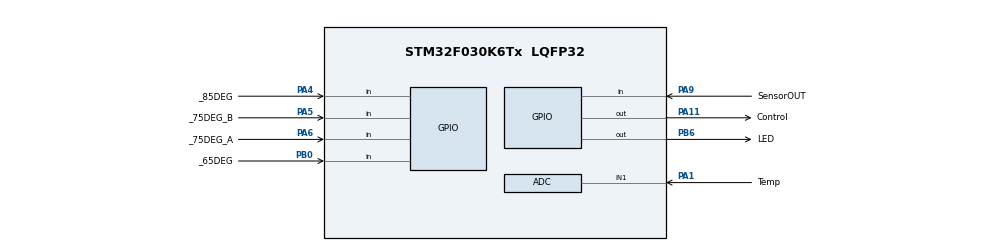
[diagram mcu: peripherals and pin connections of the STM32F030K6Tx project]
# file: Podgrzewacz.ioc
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Mcu.Family=STM32F0
Mcu.Name=STM32F030K6Tx
Mcu.Package=LQFP32
PA1.GPIO_Label=Temp
PA1.Mode=IN1
PA1.Signal=ADC_IN1
PA11.GPIO_Label=Control
PA11.Signal=GPIO_Output
PA13.Mode=Serial_Wire
PA13.Signal=SYS_SWDIO
PA14.Mode=Serial_Wire
PA14.Signal=SYS_SWCLK
PA4.GPIO_Label=_85DEG
PA4.Signal=GPIO_Input
PA5.GPIO_Label=_75DEG_B
PA5.Signal=GPIO_Input
PA6.GPIO_Label=_75DEG_A
PA6.Signal=GPIO_Input
PA9.GPIO_Label=SensorOUT
PA9.Signal=GPIO_Input
PB0.GPIO_Label=_65DEG
PB0.Signal=GPIO_Input
PB6.GPIO_Label=LED
PB6.Signal=GPIO_Output
ProjectManager.HeapSize=0x200
ProjectManager.StackSize=0x400
ProjectManager.TargetToolchain=STM32CubeIDE
board=custom

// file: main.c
/* USER CODE BEGIN Header */
/**
  ******************************************************************************
  * @file           : main.c
  * @brief          : Main program body
  ******************************************************************************
  * @attention
  *
  * Copyright (c) 2024 STMicroelectronics.
  * All rights reserved.
  *
  * This software is licensed under terms that can be found in the LICENSE file
  * in the root directory of this software component.
  * If no LICENSE file comes with this software, it is provided AS-IS.
  *
  ******************************************************************************
  */
/* USER CODE END Header */
#include "main.h"

ADC_HandleTypeDef hadc;

void SystemClock_Config(void);
static void MX_GPIO_Init(void);
static void MX_ADC_Init(void);

int main(void)
{

  /* MCU Configuration--------------------------------------------------------*/

  /* Reset of all peripherals, Initializes the Flash interface and the Systick. */
  HAL_Init();

  /* Configure the system clock */
  SystemClock_Config();

  /* Initialize all configured peripherals */
  MX_GPIO_Init();
  MX_ADC_Init();
  /* USER CODE BEGIN 2 */
  HAL_GPIO_WritePin(GPIOA, GPIO_PIN_11, GPIO_PIN_RESET);
  HAL_GPIO_WritePin(GPIOB, GPIO_PIN_6, GPIO_PIN_RESET);
  /* USER CODE END 2 */

  /* Infinite loop */
  /* USER CODE BEGIN WHILE */
  while (1)
  {
	  uint16_t InputState = 0;
	  InputState |= HAL_GPIO_ReadPin(GPIOB, GPIO_PIN_0) << 2;
	  InputState |= HAL_GPIO_ReadPin(GPIOA, GPIO_PIN_6) << 1;
	  InputState |= HAL_GPIO_ReadPin(GPIOA, GPIO_PIN_5) << 0;

	  if (HAL_GPIO_ReadPin(GPIOA, GPIO_PIN_9) == GPIO_PIN_SET)
	  {
		  switch (InputState)
		  {
			  case 0: //000
				  HAL_GPIO_WritePin(GPIOA, GPIO_PIN_11, GPIO_PIN_RESET);
				  HAL_GPIO_WritePin(GPIOB, GPIO_PIN_6, GPIO_PIN_SET);
				  break;
			  case 1: //001
				  HAL_GPIO_WritePin(GPIOA, GPIO_PIN_11, GPIO_PIN_RESET);
				  HAL_GPIO_WritePin(GPIOB, GPIO_PIN_6, GPIO_PIN_SET);
				  break;
			  case 2: //010
				  HAL_GPIO_WritePin(GPIOA, GPIO_PIN_11, GPIO_PIN_RESET);
				  HAL_GPIO_WritePin(GPIOB, GPIO_PIN_6, GPIO_PIN_SET);
				  break;
			  case 3: //011
				  HAL_GPIO_WritePin(GPIOA, GPIO_PIN_11, GPIO_PIN_SET);
				  HAL_GPIO_WritePin(GPIOB, GPIO_PIN_6, GPIO_PIN_SET);
				  break;
			  case 7: //111
				  HAL_GPIO_WritePin(GPIOA, GPIO_PIN_11, GPIO_PIN_SET);
				  HAL_GPIO_TogglePin(GPIOB, GPIO_PIN_6);
				  HAL_Delay(500);
				  break;
			  default:
				  HAL_GPIO_WritePin(GPIOA, GPIO_PIN_11, GPIO_PIN_RESET);
				  HAL_GPIO_TogglePin(GPIOB, GPIO_PIN_6);
				  HAL_Delay(250);
				  break;
		  }
	  }
	  else
	  {
		  HAL_GPIO_WritePin(GPIOA, GPIO_PIN_11, GPIO_PIN_RESET);
		  HAL_GPIO_WritePin(GPIOB, GPIO_PIN_6, GPIO_PIN_RESET);
	  }

    /* USER CODE END WHILE */

  }
}

void SystemClock_Config(void)
{
  RCC_OscInitTypeDef RCC_OscInitStruct = {0};
  RCC_ClkInitTypeDef RCC_ClkInitStruct = {0};

  /** Initializes the RCC Oscillators according to the specified parameters
  * in the RCC_OscInitTypeDef structure.
  */
  RCC_OscInitStruct.OscillatorType = RCC_OSCILLATORTYPE_HSI|RCC_OSCILLATORTYPE_HSI14;
  RCC_OscInitStruct.HSIState = RCC_HSI_ON;
  RCC_OscInitStruct.HSI14State = RCC_HSI14_ON;
  RCC_OscInitStruct.HSICalibrationValue = RCC_HSICALIBRATION_DEFAULT;
  RCC_OscInitStruct.HSI14CalibrationValue = 16;
  RCC_OscInitStruct.PLL.PLLState = RCC_PLL_NONE;
  if (HAL_RCC_OscConfig(&RCC_OscInitStruct) != HAL_OK)
  {
    Error_Handler();
  }

  /** Initializes the CPU, AHB and APB buses clocks
  */
  RCC_ClkInitStruct.ClockType = RCC_CLOCKTYPE_HCLK|RCC_CLOCKTYPE_SYSCLK
                              |RCC_CLOCKTYPE_PCLK1;
  RCC_ClkInitStruct.SYSCLKSource = RCC_SYSCLKSOURCE_HSI;
  RCC_ClkInitStruct.AHBCLKDivider = RCC_SYSCLK_DIV1;
  RCC_ClkInitStruct.APB1CLKDivider = RCC_HCLK_DIV1;

  if (HAL_RCC_ClockConfig(&RCC_ClkInitStruct, FLASH_LATENCY_0) != HAL_OK)
  {
    Error_Handler();
  }
}

static void MX_ADC_Init(void)
{

  ADC_ChannelConfTypeDef sConfig = {0};

  /** Configure the global features of the ADC (Clock, Resolution, Data Alignment and number of conversion)
  */
  hadc.Instance = ADC1;
  hadc.Init.ClockPrescaler = ADC_CLOCK_ASYNC_DIV1;
  hadc.Init.Resolution = ADC_RESOLUTION_12B;
  hadc.Init.DataAlign = ADC_DATAALIGN_RIGHT;
  hadc.Init.ScanConvMode = ADC_SCAN_DIRECTION_FORWARD;
  hadc.Init.EOCSelection = ADC_EOC_SINGLE_CONV;
  hadc.Init.LowPowerAutoWait = DISABLE;
  hadc.Init.LowPowerAutoPowerOff = DISABLE;
  hadc.Init.ContinuousConvMode = DISABLE;
  hadc.Init.DiscontinuousConvMode = DISABLE;
  hadc.Init.ExternalTrigConv = ADC_SOFTWARE_START;
  hadc.Init.ExternalTrigConvEdge = ADC_EXTERNALTRIGCONVEDGE_NONE;
  hadc.Init.DMAContinuousRequests = DISABLE;
  hadc.Init.Overrun = ADC_OVR_DATA_PRESERVED;
  if (HAL_ADC_Init(&hadc) != HAL_OK)
  {
    Error_Handler();
  }

  /** Configure for the selected ADC regular channel to be converted.
  */
  sConfig.Channel = ADC_CHANNEL_1;
  sConfig.Rank = ADC_RANK_CHANNEL_NUMBER;
  sConfig.SamplingTime = ADC_SAMPLETIME_1CYCLE_5;
  if (HAL_ADC_ConfigChannel(&hadc, &sConfig) != HAL_OK)
  {
    Error_Handler();
  }

}

static void MX_GPIO_Init(void)
{
  GPIO_InitTypeDef GPIO_InitStruct = {0};

  /* GPIO Ports Clock Enable */
  __HAL_RCC_GPIOA_CLK_ENABLE();
  __HAL_RCC_GPIOB_CLK_ENABLE();

  /*Configure GPIO pin Output Level */
  HAL_GPIO_WritePin(Control_GPIO_Port, Control_Pin, GPIO_PIN_RESET);

  /*Configure GPIO pin Output Level */
  HAL_GPIO_WritePin(LED_GPIO_Port, LED_Pin, GPIO_PIN_RESET);

  /*Configure GPIO pins : _85DEG_Pin _75DEG_B_Pin _75DEG_A_Pin SensorOUT_Pin */
  GPIO_InitStruct.Pin = _85DEG_Pin|_75DEG_B_Pin|_75DEG_A_Pin|SensorOUT_Pin;
  GPIO_InitStruct.Mode = GPIO_MODE_INPUT;
  GPIO_InitStruct.Pull = GPIO_NOPULL;
  HAL_GPIO_Init(GPIOA, &GPIO_InitStruct);

  /*Configure GPIO pin : _65DEG_Pin */
  GPIO_InitStruct.Pin = _65DEG_Pin;
  GPIO_InitStruct.Mode = GPIO_MODE_INPUT;
  GPIO_InitStruct.Pull = GPIO_NOPULL;
  HAL_GPIO_Init(_65DEG_GPIO_Port, &GPIO_InitStruct);

  /*Configure GPIO pin : Control_Pin */
  GPIO_InitStruct.Pin = Control_Pin;
  GPIO_InitStruct.Mode = GPIO_MODE_OUTPUT_PP;
  GPIO_InitStruct.Pull = GPIO_NOPULL;
  GPIO_InitStruct.Speed = GPIO_SPEED_FREQ_LOW;
  HAL_GPIO_Init(Control_GPIO_Port, &GPIO_InitStruct);

  /*Configure GPIO pin : LED_Pin */
  GPIO_InitStruct.Pin = LED_Pin;
  GPIO_InitStruct.Mode = GPIO_MODE_OUTPUT_PP;
  GPIO_InitStruct.Pull = GPIO_NOPULL;
  GPIO_InitStruct.Speed = GPIO_SPEED_FREQ_LOW;
  HAL_GPIO_Init(LED_GPIO_Port, &GPIO_InitStruct);

}

void Error_Handler(void)
{
  __disable_irq();
  while (1)
  {
  }
}
